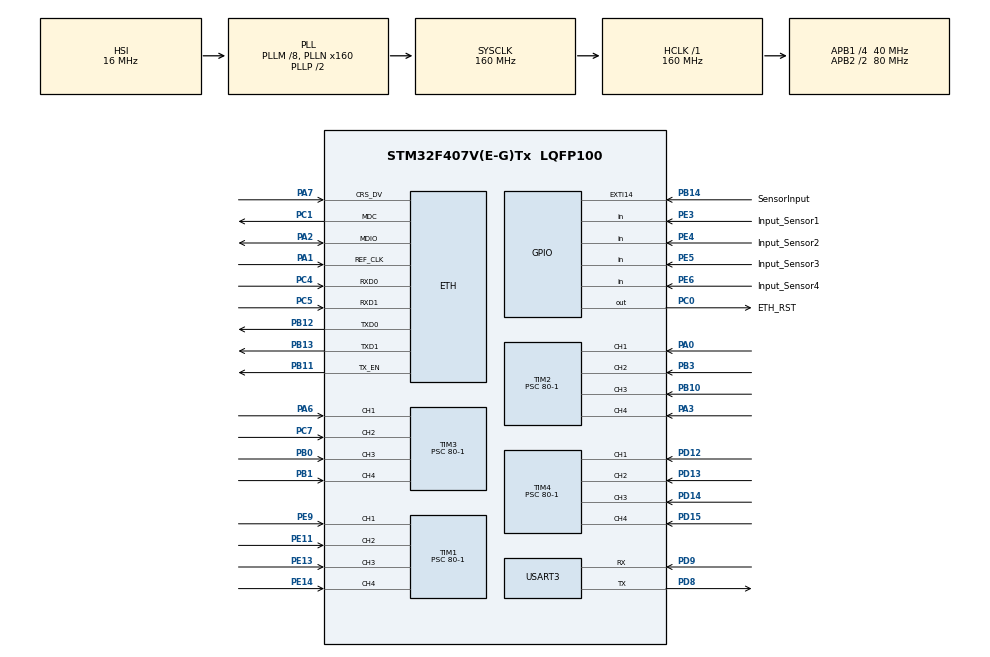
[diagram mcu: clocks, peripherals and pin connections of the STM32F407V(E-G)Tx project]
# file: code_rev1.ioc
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Dma.Request0=USART3_RX
Dma.USART3_RX.0.Direction=DMA_PERIPH_TO_MEMORY
Dma.USART3_RX.0.FIFOMode=DMA_FIFOMODE_DISABLE
Dma.USART3_RX.0.Instance=DMA1_Stream1
Dma.USART3_RX.0.MemDataAlignment=DMA_MDATAALIGN_BYTE
Dma.USART3_RX.0.MemInc=DMA_MINC_ENABLE
Dma.USART3_RX.0.Mode=DMA_CIRCULAR
Dma.USART3_RX.0.PeriphDataAlignment=DMA_PDATAALIGN_BYTE
Dma.USART3_RX.0.PeriphInc=DMA_PINC_DISABLE
Dma.USART3_RX.0.Priority=DMA_PRIORITY_LOW
ETH.MACAddr=00\:80\:E1\:00\:00\:02
ETH.MediaInterface=ETH_MEDIA_INTERFACE_RMII
ETH.PhyAddress=0
FREERTOS.INCLUDE_vTaskCleanUpResources=1
FREERTOS.Tasks01=modbusTaskTcp,32,1024,modebusTaskTcpFunc,Default,NULL,Dynamic,NULL,NULL;Freq_Cal,24,256,Freq_Cal_entry,Default,NULL,Dynamic,NULL,NULL
FREERTOS.configENABLE_FPU=1
FREERTOS.configGENERATE_RUN_TIME_STATS=1
FREERTOS.configTOTAL_HEAP_SIZE=32000
LWIP.CMSIS_VERSION-Enabled=1
LWIP.GATEWAY_ADDRESS=192.168.000.001
LWIP.IP_ADDRESS=192.168.000.092
LWIP.LWIP_DHCP=0
LWIP.LWIP_HTTPD=0
LWIP.MEMP_NUM_PBUF=64
LWIP.MEMP_NUM_TCP_PCB=10
LWIP.MEM_SIZE=10240
LWIP.NETMASK_ADDRESS=255.255.255.000
LWIP.PBUF_POOL_BUFSIZE=1024
LWIP.PBUF_POOL_SIZE=32
LWIP.Version=v2.1.2_Cube
Mcu.Family=STM32F4
Mcu.Name=STM32F407V(E-G)Tx
Mcu.Package=LQFP100
NVIC.DMA1_Stream1_IRQn=true\:0\:0\:false\:false\:true\:true\:false\:true\:true
NVIC.ETH_IRQn=true\:5\:0\:true\:false\:true\:true\:false\:true\:true
NVIC.PriorityGroup=NVIC_PRIORITYGROUP_4
NVIC.TIM1_CC_IRQn=true\:0\:0\:false\:false\:true\:false\:true\:true\:true
NVIC.TIM2_IRQn=true\:0\:0\:false\:false\:true\:false\:true\:true\:true
NVIC.TIM3_IRQn=true\:0\:0\:false\:false\:true\:false\:true\:true\:true
NVIC.TIM4_IRQn=true\:0\:0\:false\:false\:true\:false\:true\:true\:true
NVIC.TIM5_IRQn=true\:0\:0\:false\:false\:true\:false\:false\:true\:true
NVIC.TimeBase=TIM5_IRQn
NVIC.TimeBaseIP=TIM5
NVIC.USART3_IRQn=true\:0\:0\:true\:false\:true\:false\:true\:true\:true
PA0-WKUP.Signal=S_TIM2_CH1_ETR
PA1.Mode=RMII
PA1.Signal=ETH_REF_CLK
PA13.Mode=Serial_Wire
PA13.Signal=SYS_JTMS-SWDIO
PA14.Mode=Serial_Wire
PA14.Signal=SYS_JTCK-SWCLK
PA2.Mode=RMII
PA2.Signal=ETH_MDIO
PA3.Signal=S_TIM2_CH4
PA6.Signal=S_TIM3_CH1
PA7.Mode=RMII
PA7.Signal=ETH_CRS_DV
PB0.Signal=S_TIM3_CH3
PB1.Signal=S_TIM3_CH4
PB10.Signal=S_TIM2_CH3
PB11.Mode=RMII
PB11.Signal=ETH_TX_EN
PB12.Mode=RMII
PB12.Signal=ETH_TXD0
PB13.Mode=RMII
PB13.Signal=ETH_TXD1
PB14.GPIO_Label=SensorInput
PB14.Signal=GPXTI14
PB3.Signal=S_TIM2_CH2
PC0.GPIO_Label=ETH_RST
PC0.PinState=GPIO_PIN_SET
PC0.Signal=GPIO_Output
PC1.Mode=RMII
PC1.Signal=ETH_MDC
PC4.Mode=RMII
PC4.Signal=ETH_RXD0
PC5.Mode=RMII
PC5.Signal=ETH_RXD1
PC7.Signal=S_TIM3_CH2
PD12.Signal=S_TIM4_CH1
PD13.Signal=S_TIM4_CH2
PD14.Signal=S_TIM4_CH3
PD15.Signal=S_TIM4_CH4
PD8.Mode=Asynchronous
PD8.Signal=USART3_TX
PD9.Mode=Asynchronous
PD9.Signal=USART3_RX
PE11.Signal=S_TIM1_CH2
PE13.Signal=S_TIM1_CH3
PE14.Signal=S_TIM1_CH4
PE3.GPIO_Label=Input_Sensor1
PE3.GPIO_PuPd=GPIO_NOPULL
PE3.Signal=GPIO_Input
PE4.GPIO_Label=Input_Sensor2
PE4.GPIO_PuPd=GPIO_NOPULL
PE4.Signal=GPIO_Input
PE5.GPIO_Label=Input_Sensor3
PE5.GPIO_PuPd=GPIO_NOPULL
PE5.Signal=GPIO_Input
PE6.GPIO_Label=Input_Sensor4
PE6.GPIO_PuPd=GPIO_NOPULL
PE6.Signal=GPIO_Input
PE9.Signal=S_TIM1_CH1
PH0-OSC_IN.Mode=HSE-External-Oscillator
PH0-OSC_IN.Signal=RCC_OSC_IN
PH1-OSC_OUT.Mode=HSE-External-Oscillator
PH1-OSC_OUT.Signal=RCC_OSC_OUT
ProjectManager.HeapSize=0x2000
ProjectManager.StackSize=0x4000
ProjectManager.TargetToolchain=EWARM V8.32
RCC.48MHZClocksFreq_Value=45714285.71428572
RCC.AHBFreq_Value=160000000
RCC.APB1CLKDivider=RCC_HCLK_DIV4
RCC.APB1Freq_Value=40000000
RCC.APB1TimFreq_Value=80000000
RCC.APB2CLKDivider=RCC_HCLK_DIV2
RCC.APB2Freq_Value=80000000
RCC.APB2TimFreq_Value=160000000
RCC.CortexFreq_Value=160000000
RCC.HCLKFreq_Value=160000000
RCC.HSE_VALUE=8000000
RCC.HSI_VALUE=16000000
RCC.LSE_VALUE=32768
RCC.PLLM=8
RCC.PLLN=160
RCC.PLLQ=7
RCC.SYSCLKFreq_VALUE=160000000
RCC.SYSCLKSource=RCC_SYSCLKSOURCE_PLLCLK
RCC.VCOOutputFreq_Value=320000000
SH.S_TIM1_CH1.0=TIM1_CH1,Input_Capture1_from_TI1
SH.S_TIM1_CH2.0=TIM1_CH2,Input_Capture2_from_TI2
SH.S_TIM1_CH3.0=TIM1_CH3,Input_Capture3_from_TI3
SH.S_TIM1_CH4.0=TIM1_CH4,Input_Capture4_from_TI4
SH.S_TIM2_CH1_ETR.0=TIM2_CH1,Input_Capture1_from_TI1
SH.S_TIM2_CH2.0=TIM2_CH2,Input_Capture2_from_TI2
SH.S_TIM2_CH3.0=TIM2_CH3,Input_Capture3_from_TI3
SH.S_TIM2_CH4.0=TIM2_CH4,Input_Capture4_from_TI4
SH.S_TIM3_CH1.0=TIM3_CH1,Input_Capture1_from_TI1
SH.S_TIM3_CH2.0=TIM3_CH2,Input_Capture2_from_TI2
SH.S_TIM3_CH3.0=TIM3_CH3,Input_Capture3_from_TI3
SH.S_TIM3_CH4.0=TIM3_CH4,Input_Capture4_from_TI4
SH.S_TIM4_CH1.0=TIM4_CH1,Input_Capture1_from_TI1
SH.S_TIM4_CH2.0=TIM4_CH2,Input_Capture2_from_TI2
SH.S_TIM4_CH3.0=TIM4_CH3,Input_Capture3_from_TI3
SH.S_TIM4_CH4.0=TIM4_CH4,Input_Capture4_from_TI4
TIM1.Channel-Input_Capture1_from_TI1=TIM_CHANNEL_1
TIM1.Channel-Input_Capture2_from_TI2=TIM_CHANNEL_2
TIM1.Channel-Input_Capture3_from_TI3=TIM_CHANNEL_3
TIM1.Channel-Input_Capture4_from_TI4=TIM_CHANNEL_4
TIM1.Prescaler=80-1
TIM2.Channel-Input_Capture1_from_TI1=TIM_CHANNEL_1
TIM2.Channel-Input_Capture2_from_TI2=TIM_CHANNEL_2
TIM2.Channel-Input_Capture3_from_TI3=TIM_CHANNEL_3
TIM2.Channel-Input_Capture4_from_TI4=TIM_CHANNEL_4
TIM2.Prescaler=80-1
TIM3.Channel-Input_Capture1_from_TI1=TIM_CHANNEL_1
TIM3.Channel-Input_Capture2_from_TI2=TIM_CHANNEL_2
TIM3.Channel-Input_Capture3_from_TI3=TIM_CHANNEL_3
TIM3.Channel-Input_Capture4_from_TI4=TIM_CHANNEL_4
TIM3.Prescaler=80-1
TIM4.AutoReloadPreload=TIM_AUTORELOAD_PRELOAD_ENABLE
TIM4.Channel-Input_Capture1_from_TI1=TIM_CHANNEL_1
TIM4.Channel-Input_Capture2_from_TI2=TIM_CHANNEL_2
TIM4.Channel-Input_Capture3_from_TI3=TIM_CHANNEL_3
TIM4.Channel-Input_Capture4_from_TI4=TIM_CHANNEL_4
TIM4.Prescaler=80-1
USART3.VirtualMode=VM_ASYNC
VP_FREERTOS_VS_CMSIS_V2.Mode=CMSIS_V2
VP_LWIP_VS_Enabled.Mode=Enabled
VP_SYS_VS_tim5.Mode=TIM5
VP_TIM1_VS_ClockSourceINT.Mode=Internal
VP_TIM2_VS_ClockSourceINT.Mode=Internal
VP_TIM3_VS_ClockSourceINT.Mode=Internal
VP_TIM4_VS_ClockSourceINT.Mode=Internal
board=custom

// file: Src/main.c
/* USER CODE BEGIN Header */
/**
******************************************************************************
* @file           : main.c
* @brief          : Main program body
******************************************************************************
* @attention
*
* <h2><center>&copy; Copyright (c) 2023 STMicroelectronics.
* All rights reserved.</center></h2>
*
* This software component is licensed by ST under Ultimate Liberty license
* SLA0044, the "License"; You may not use this file except in compliance with
* the License. You may obtain a copy of the License at:
*                             www.st.com/SLA0044
*
******************************************************************************
*/
/* USER CODE END Header */
#include "main.h"
#include "cmsis_os.h"
#include "lwip.h"

/* USER CODE BEGIN Includes */
#include "lwip/apps/httpd.h"
#include "string.h"
#include "stdio.h"
#include "stdlib.h"
#include "lwip/opt.h"
#include "lwip/arch.h"
#include "api.h"
#include "string.h"
#include "lwip/netif.h"
#include "lwip/tcp.h"
#include "lwip/tcpip.h"
#include "lwip/udp.h"
#include "lwip/netbuf.h"
#include "lwip/pbuf.h"
#include "lwip/sys.h"
#include "err.h"
#include "lwip/ip.h"
#include "lwip/ip4.h"
#include "lwip/ip4_addr.h"
#include "lwip/ip_addr.h"
#include "lwip/sockets.h"
#include <stdbool.h>
#include <stdint.h>
#include <stdio.h>
#include <stdlib.h>
#include <string.h>
#include "mbap_conf.h"
#include "mbap_user.h"
#include "tcp1.h"

//#include "udpclient.h"

#include <float.h>
#include <math.h>
#include <float.h>
#include <math.h>
#include <stdio.h>
#include <stdlib.h>
#include <string.h>

#include "printf.h"
/* USER CODE END Includes */

/* USER CODE BEGIN PD */
#define PORT     2020
#define MAXLINE  1024

u32_t number_of_bytes=0;
char buffer[MAXLINE];
/* USER CODE END PD */

/* USER CODE BEGIN PM */
err_t err, recv_err;
ip_addr_t dest_addr;
int indx = 0;
char smsg[200];
int sendReq = 1;
void udpsend(char *data);

#define TIMCLOCK_1   80000000
#define TIMCLOCK_2   160000000
#define PRESCALAR_1  80
#define PRESCALAR_2  80

#define ARRAY_LEN(x)  (sizeof(x)/sizeof((x)[0]))
uint8_t usart_rx[2500];
size_t pos;
#define NUMBERS_COUNT 17
#define NUMBER_LENGTH 4
#define BUFFER_LENGTH 84
uint8_t Rx_data[84];
int sl_inputs[NUMBERS_COUNT];

uint32_t IC_Val1[16] = {0,0,0,0,0,0,0,0,0,0,0,0,0,0,0,0};
uint32_t IC_Val2[16] = {0,0,0,0,0,0,0,0,0,0,0,0,0,0,0,0};
uint32_t Difference[16] = {0,0,0,0,0,0,0,0,0,0,0,0,0,0,0,0};
int Is_First_Captured[16] = {0,0,0,0,0,0,0,0,0,0,0,0,0,0,0,0};
uint32_t frequency[16] = {0,0,0,0,0,0,0,0,0,0,0,0,0,0,0,0};
uint32_t frequency_f[16] = {0,0,0,0,0,0,0,0,0,0,0,0,0,0,0,0};

char update_status[] = "mode0";
uint16_t capture_freq[100][16];
uint8_t readCount = 0;
uint8_t counter = 0;

uint16_t selected_data[25][16];
uint16_t out_data[800];

int sensorStatus = 0;
int sensorNumber = 0;
int readStatus = 0;

int slave_recive = 0;
uint32_t slave_data[400];

char outstr[4802];
int sendData = 0;

extern int sendReq;
uint8_t sendCounter = 0;

uint8_t recBlock = 0;
uint8_t sendOutUdp = 0;
uint8_t socketStatus = 0;

char header[1200];
char footer[1200];
/* USER CODE END PM */

TIM_HandleTypeDef htim1;
TIM_HandleTypeDef htim2;
TIM_HandleTypeDef htim3;
TIM_HandleTypeDef htim4;

/* Definitions for modbusTaskTcp */
osThreadId_t modbusTaskTcpHandle;
const osThreadAttr_t modbusTaskTcp_attributes = {
  .name = "modbusTaskTcp",
  .priority = (osPriority_t) osPriorityAboveNormal,
  .stack_size = 1024 * 4
};
/* Definitions for Freq_Cal */
osThreadId_t Freq_CalHandle;
const osThreadAttr_t Freq_Cal_attributes = {
  .name = "Freq_Cal",
  .priority = (osPriority_t) osPriorityNormal,
  .stack_size = 256 * 4
};

void SystemClock_Config(void);
static void MX_GPIO_Init(void);
static void MX_DMA_Init(void);
static void MX_TIM1_Init(void);
static void MX_TIM2_Init(void);
static void MX_USART3_UART_Init(void);
static void MX_TIM3_Init(void);
static void MX_TIM4_Init(void);
void modebusTaskTcpFunc(void *argument);
void Freq_Cal_entry(void *argument);

/* USER CODE BEGIN PFP */
void usart_transmit_data(const void* data, uint16_t len) {
  const uint8_t* b = data;
  while (len--) {
    LL_USART_TransmitData8(USART3, *b++);
    while (!LL_USART_IsActiveFlag_TXE(USART3));
  }
}

void usart_rx_check(void) {
  static size_t old_pos;

  /* Calculate current position in buffer */
  pos = ARRAY_LEN(usart_rx) - LL_DMA_GetDataLength(DMA1, LL_DMA_STREAM_5);
  old_pos = pos;                              /* Save current position as old */
  /* Check and manually update if we reached end of buffer */
  if (old_pos == ARRAY_LEN(usart_rx)) {
    old_pos = 0;
  }
}

/**
* \brief           Process received data over UART
* \note            Either process them directly or copy to other bigger buffer
* \param[in]       data: Data to process
* \param[in]       len: Length in units of bytes
*/
void usart_process_data(const void* data, size_t len) {
  const uint8_t* d = data;
  while (len--) {
    LL_USART_TransmitData8(USART3, *d++);
    while (!LL_USART_IsActiveFlag_TXE(USART3));
  }
  while (!LL_USART_IsActiveFlag_TC(USART3));
}

/**
* @brief USART3 Initialization Function
* @param None
* @retval None
*/
static void MX_USART3_UART_Init(void)
{

  /* USER CODE BEGIN USART3_Init 0 */

  /* USER CODE END USART3_Init 0 */

  LL_USART_InitTypeDef USART_InitStruct = {0};

  LL_GPIO_InitTypeDef GPIO_InitStruct = {0};

  /* Peripheral clock enable */
  LL_APB1_GRP1_EnableClock(LL_APB1_GRP1_PERIPH_USART3);

  LL_AHB1_GRP1_EnableClock(LL_AHB1_GRP1_PERIPH_GPIOD);
  /**USART3 GPIO Configuration
  PD8   ------> USART3_TX
  PD9   ------> USART3_RX
  */
  GPIO_InitStruct.Pin = LL_GPIO_PIN_8|LL_GPIO_PIN_9;
  GPIO_InitStruct.Mode = LL_GPIO_MODE_ALTERNATE;
  GPIO_InitStruct.Speed = LL_GPIO_SPEED_FREQ_VERY_HIGH;
  GPIO_InitStruct.OutputType = LL_GPIO_OUTPUT_PUSHPULL;
  GPIO_InitStruct.Pull = LL_GPIO_PULL_UP;
  GPIO_InitStruct.Alternate = LL_GPIO_AF_7;
  LL_GPIO_Init(GPIOD, &GPIO_InitStruct);

  /* USART3 DMA Init */

  /* USART3_RX Init */
  /*
  LL_DMA_SetChannelSelection(DMA1, LL_DMA_STREAM_1, LL_DMA_CHANNEL_4);

  LL_DMA_SetDataTransferDirection(DMA1, LL_DMA_STREAM_1, LL_DMA_DIRECTION_PERIPH_TO_MEMORY);

  LL_DMA_SetStreamPriorityLevel(DMA1, LL_DMA_STREAM_1, LL_DMA_PRIORITY_LOW);

  LL_DMA_SetMode(DMA1, LL_DMA_STREAM_1, LL_DMA_MODE_CIRCULAR);

  LL_DMA_SetPeriphIncMode(DMA1, LL_DMA_STREAM_1, LL_DMA_PERIPH_NOINCREMENT);

  LL_DMA_SetMemoryIncMode(DMA1, LL_DMA_STREAM_1, LL_DMA_MEMORY_INCREMENT);

  LL_DMA_SetPeriphSize(DMA1, LL_DMA_STREAM_1, LL_DMA_PDATAALIGN_BYTE);

  LL_DMA_SetMemorySize(DMA1, LL_DMA_STREAM_1, LL_DMA_MDATAALIGN_BYTE);

  LL_DMA_DisableFifoMode(DMA1, LL_DMA_STREAM_1);
  */
  LL_DMA_SetChannelSelection(DMA1, LL_DMA_STREAM_1, LL_DMA_CHANNEL_4);
  LL_DMA_SetDataTransferDirection(DMA1, LL_DMA_STREAM_1, LL_DMA_DIRECTION_PERIPH_TO_MEMORY);
  LL_DMA_SetStreamPriorityLevel(DMA1, LL_DMA_STREAM_1, LL_DMA_PRIORITY_LOW);
  LL_DMA_SetMode(DMA1, LL_DMA_STREAM_1, LL_DMA_MODE_CIRCULAR);
  LL_DMA_SetPeriphIncMode(DMA1, LL_DMA_STREAM_1, LL_DMA_PERIPH_NOINCREMENT);
  LL_DMA_SetMemoryIncMode(DMA1, LL_DMA_STREAM_1, LL_DMA_MEMORY_INCREMENT);
  LL_DMA_SetPeriphSize(DMA1, LL_DMA_STREAM_1, LL_DMA_PDATAALIGN_BYTE);
  LL_DMA_SetMemorySize(DMA1, LL_DMA_STREAM_1, LL_DMA_MDATAALIGN_BYTE);
  LL_DMA_DisableFifoMode(DMA1, LL_DMA_STREAM_1);

  LL_DMA_SetPeriphAddress(DMA1, LL_DMA_STREAM_1, (uint32_t)&USART3->DR);
  LL_DMA_SetMemoryAddress(DMA1, LL_DMA_STREAM_1, (uint32_t)usart_rx);
  LL_DMA_SetDataLength(DMA1, LL_DMA_STREAM_1, ARRAY_LEN(usart_rx));

  /* USART3 interrupt Init */
  NVIC_SetPriority(USART3_IRQn, NVIC_EncodePriority(NVIC_GetPriorityGrouping(),5, 0));
  NVIC_EnableIRQ(USART3_IRQn);

  /* USER CODE BEGIN USART3_Init 1 */

  /* USER CODE END USART3_Init 1 */
  USART_InitStruct.BaudRate = 115200;
  USART_InitStruct.DataWidth = LL_USART_DATAWIDTH_8B;
  USART_InitStruct.StopBits = LL_USART_STOPBITS_1;
  USART_InitStruct.Parity = LL_USART_PARITY_NONE;
  USART_InitStruct.TransferDirection = LL_USART_DIRECTION_TX_RX;
  USART_InitStruct.HardwareFlowControl = LL_USART_HWCONTROL_NONE;
  USART_InitStruct.OverSampling = LL_USART_OVERSAMPLING_16;
  LL_USART_Init(USART3, &USART_InitStruct);
  LL_USART_ConfigAsyncMode(USART3);
  LL_USART_EnableDMAReq_RX(USART3);
  LL_USART_EnableIT_IDLE(USART3);
  LL_DMA_EnableStream(DMA1, LL_DMA_STREAM_1);
  LL_USART_Enable(USART3);
  /* USER CODE BEGIN USART3_Init 2 */

  /* USER CODE END USART3_Init 2 */

}

/**
* \brief           Send string to USART
* \param[in]       str: String to send
*/
void usart_send_string(const char* str) {
  usart_process_data(str, strlen(str));
}
/* USER CODE END PFP */

int main(void)
{

  /* MCU Configuration--------------------------------------------------------*/

  /* Reset of all peripherals, Initializes the Flash interface and the Systick. */
  HAL_Init();

  /* Configure the system clock */
  SystemClock_Config();

  /* Initialize all configured peripherals */
  MX_GPIO_Init();
  MX_DMA_Init();
  MX_TIM1_Init();
  MX_TIM2_Init();
  MX_USART3_UART_Init();
  MX_TIM3_Init();
  MX_TIM4_Init();
  /* USER CODE BEGIN 2 */
  HAL_TIM_IC_Start_IT(&htim1, TIM_CHANNEL_1);
  HAL_TIM_IC_Start_IT(&htim1, TIM_CHANNEL_2);
  HAL_TIM_IC_Start_IT(&htim1, TIM_CHANNEL_3);
  HAL_TIM_IC_Start_IT(&htim1, TIM_CHANNEL_4);

  HAL_TIM_IC_Start_IT(&htim2, TIM_CHANNEL_1);
  HAL_TIM_IC_Start_IT(&htim2, TIM_CHANNEL_2);
  HAL_TIM_IC_Start_IT(&htim2, TIM_CHANNEL_3);
  HAL_TIM_IC_Start_IT(&htim2, TIM_CHANNEL_4);

  HAL_TIM_IC_Start_IT(&htim3, TIM_CHANNEL_1);
  HAL_TIM_IC_Start_IT(&htim3, TIM_CHANNEL_2);
  HAL_TIM_IC_Start_IT(&htim3, TIM_CHANNEL_3);
  HAL_TIM_IC_Start_IT(&htim3, TIM_CHANNEL_4);

  HAL_TIM_IC_Start_IT(&htim4, TIM_CHANNEL_1);
  HAL_TIM_IC_Start_IT(&htim4, TIM_CHANNEL_2);
  HAL_TIM_IC_Start_IT(&htim4, TIM_CHANNEL_3);
  HAL_TIM_IC_Start_IT(&htim4, TIM_CHANNEL_4);

  //HAL_UART_Receive_IT (&huart3, Rx_data, 4);
  HAL_GPIO_WritePin(ETH_RST_GPIO_Port, ETH_RST_Pin, GPIO_PIN_RESET);
  HAL_Delay(500);
  HAL_GPIO_WritePin(ETH_RST_GPIO_Port, ETH_RST_Pin, GPIO_PIN_SET);
  HAL_Delay(500);
  HAL_GPIO_WritePin(ETH_RST_GPIO_Port, ETH_RST_Pin, GPIO_PIN_RESET);
  HAL_Delay(500);
  HAL_GPIO_WritePin(ETH_RST_GPIO_Port, ETH_RST_Pin, GPIO_PIN_SET);
  HAL_Delay(500);
  /* USER CODE END 2 */

  /* Init scheduler */
  osKernelInitialize();

  /* Create the thread(s) */
  /* creation of modbusTaskTcp */
  modbusTaskTcpHandle = osThreadNew(modebusTaskTcpFunc, NULL, &modbusTaskTcp_attributes);

  /* creation of Freq_Cal */
  Freq_CalHandle = osThreadNew(Freq_Cal_entry, NULL, &Freq_Cal_attributes);

  /* Start scheduler */
  osKernelStart();

  /* We should never get here as control is now taken by the scheduler */
  /* Infinite loop */
  while (1)
  {

  }
}

void SystemClock_Config(void)
{
  RCC_OscInitTypeDef RCC_OscInitStruct = {0};
  RCC_ClkInitTypeDef RCC_ClkInitStruct = {0};

  /** Configure the main internal regulator output voltage
  */
  __HAL_RCC_PWR_CLK_ENABLE();
  __HAL_PWR_VOLTAGESCALING_CONFIG(PWR_REGULATOR_VOLTAGE_SCALE1);
  /** Initializes the RCC Oscillators according to the specified parameters
  * in the RCC_OscInitTypeDef structure.
  */
  RCC_OscInitStruct.OscillatorType = RCC_OSCILLATORTYPE_HSI;
  RCC_OscInitStruct.HSIState = RCC_HSI_ON;
  RCC_OscInitStruct.HSICalibrationValue = RCC_HSICALIBRATION_DEFAULT;
  RCC_OscInitStruct.PLL.PLLState = RCC_PLL_ON;
  RCC_OscInitStruct.PLL.PLLSource = RCC_PLLSOURCE_HSI;
  RCC_OscInitStruct.PLL.PLLM = 8;
  RCC_OscInitStruct.PLL.PLLN = 160;
  RCC_OscInitStruct.PLL.PLLP = RCC_PLLP_DIV2;
  RCC_OscInitStruct.PLL.PLLQ = 7;
  if (HAL_RCC_OscConfig(&RCC_OscInitStruct) != HAL_OK)
  {
    Error_Handler();
  }
  /** Initializes the CPU, AHB and APB buses clocks
  */
  RCC_ClkInitStruct.ClockType = RCC_CLOCKTYPE_HCLK|RCC_CLOCKTYPE_SYSCLK
                              |RCC_CLOCKTYPE_PCLK1|RCC_CLOCKTYPE_PCLK2;
  RCC_ClkInitStruct.SYSCLKSource = RCC_SYSCLKSOURCE_PLLCLK;
  RCC_ClkInitStruct.AHBCLKDivider = RCC_SYSCLK_DIV1;
  RCC_ClkInitStruct.APB1CLKDivider = RCC_HCLK_DIV4;
  RCC_ClkInitStruct.APB2CLKDivider = RCC_HCLK_DIV2;

  if (HAL_RCC_ClockConfig(&RCC_ClkInitStruct, FLASH_LATENCY_5) != HAL_OK)
  {
    Error_Handler();
  }
}

static void MX_TIM1_Init(void)
{

  TIM_ClockConfigTypeDef sClockSourceConfig = {0};
  TIM_MasterConfigTypeDef sMasterConfig = {0};
  TIM_IC_InitTypeDef sConfigIC = {0};

  htim1.Instance = TIM1;
  htim1.Init.Prescaler = 80-1;
  htim1.Init.CounterMode = TIM_COUNTERMODE_UP;
  htim1.Init.Period = 65535;
  htim1.Init.ClockDivision = TIM_CLOCKDIVISION_DIV1;
  htim1.Init.RepetitionCounter = 0;
  htim1.Init.AutoReloadPreload = TIM_AUTORELOAD_PRELOAD_DISABLE;
  if (HAL_TIM_Base_Init(&htim1) != HAL_OK)
  {
    Error_Handler();
  }
  sClockSourceConfig.ClockSource = TIM_CLOCKSOURCE_INTERNAL;
  if (HAL_TIM_ConfigClockSource(&htim1, &sClockSourceConfig) != HAL_OK)
  {
    Error_Handler();
  }
  if (HAL_TIM_IC_Init(&htim1) != HAL_OK)
  {
    Error_Handler();
  }
  sMasterConfig.MasterOutputTrigger = TIM_TRGO_RESET;
  sMasterConfig.MasterSlaveMode = TIM_MASTERSLAVEMODE_DISABLE;
  if (HAL_TIMEx_MasterConfigSynchronization(&htim1, &sMasterConfig) != HAL_OK)
  {
    Error_Handler();
  }
  sConfigIC.ICPolarity = TIM_INPUTCHANNELPOLARITY_RISING;
  sConfigIC.ICSelection = TIM_ICSELECTION_DIRECTTI;
  sConfigIC.ICPrescaler = TIM_ICPSC_DIV1;
  sConfigIC.ICFilter = 0;
  if (HAL_TIM_IC_ConfigChannel(&htim1, &sConfigIC, TIM_CHANNEL_1) != HAL_OK)
  {
    Error_Handler();
  }
  if (HAL_TIM_IC_ConfigChannel(&htim1, &sConfigIC, TIM_CHANNEL_2) != HAL_OK)
  {
    Error_Handler();
  }
  if (HAL_TIM_IC_ConfigChannel(&htim1, &sConfigIC, TIM_CHANNEL_3) != HAL_OK)
  {
    Error_Handler();
  }
  if (HAL_TIM_IC_ConfigChannel(&htim1, &sConfigIC, TIM_CHANNEL_4) != HAL_OK)
  {
    Error_Handler();
  }

}

static void MX_TIM2_Init(void)
{

  TIM_ClockConfigTypeDef sClockSourceConfig = {0};
  TIM_MasterConfigTypeDef sMasterConfig = {0};
  TIM_IC_InitTypeDef sConfigIC = {0};

  htim2.Instance = TIM2;
  htim2.Init.Prescaler = 80-1;
  htim2.Init.CounterMode = TIM_COUNTERMODE_UP;
  htim2.Init.Period = 4294967295;
  htim2.Init.ClockDivision = TIM_CLOCKDIVISION_DIV1;
  htim2.Init.AutoReloadPreload = TIM_AUTORELOAD_PRELOAD_DISABLE;
  if (HAL_TIM_Base_Init(&htim2) != HAL_OK)
  {
    Error_Handler();
  }
  sClockSourceConfig.ClockSource = TIM_CLOCKSOURCE_INTERNAL;
  if (HAL_TIM_ConfigClockSource(&htim2, &sClockSourceConfig) != HAL_OK)
  {
    Error_Handler();
  }
  if (HAL_TIM_IC_Init(&htim2) != HAL_OK)
  {
    Error_Handler();
  }
  sMasterConfig.MasterOutputTrigger = TIM_TRGO_RESET;
  sMasterConfig.MasterSlaveMode = TIM_MASTERSLAVEMODE_DISABLE;
  if (HAL_TIMEx_MasterConfigSynchronization(&htim2, &sMasterConfig) != HAL_OK)
  {
    Error_Handler();
  }
  sConfigIC.ICPolarity = TIM_INPUTCHANNELPOLARITY_RISING;
  sConfigIC.ICSelection = TIM_ICSELECTION_DIRECTTI;
  sConfigIC.ICPrescaler = TIM_ICPSC_DIV1;
  sConfigIC.ICFilter = 0;
  if (HAL_TIM_IC_ConfigChannel(&htim2, &sConfigIC, TIM_CHANNEL_1) != HAL_OK)
  {
    Error_Handler();
  }
  if (HAL_TIM_IC_ConfigChannel(&htim2, &sConfigIC, TIM_CHANNEL_2) != HAL_OK)
  {
    Error_Handler();
  }
  if (HAL_TIM_IC_ConfigChannel(&htim2, &sConfigIC, TIM_CHANNEL_3) != HAL_OK)
  {
    Error_Handler();
  }
  if (HAL_TIM_IC_ConfigChannel(&htim2, &sConfigIC, TIM_CHANNEL_4) != HAL_OK)
  {
    Error_Handler();
  }

}

static void MX_TIM3_Init(void)
{

  TIM_ClockConfigTypeDef sClockSourceConfig = {0};
  TIM_MasterConfigTypeDef sMasterConfig = {0};
  TIM_IC_InitTypeDef sConfigIC = {0};

  htim3.Instance = TIM3;
  htim3.Init.Prescaler = 80-1;
  htim3.Init.CounterMode = TIM_COUNTERMODE_UP;
  htim3.Init.Period = 65535;
  htim3.Init.ClockDivision = TIM_CLOCKDIVISION_DIV1;
  htim3.Init.AutoReloadPreload = TIM_AUTORELOAD_PRELOAD_DISABLE;
  if (HAL_TIM_Base_Init(&htim3) != HAL_OK)
  {
    Error_Handler();
  }
  sClockSourceConfig.ClockSource = TIM_CLOCKSOURCE_INTERNAL;
  if (HAL_TIM_ConfigClockSource(&htim3, &sClockSourceConfig) != HAL_OK)
  {
    Error_Handler();
  }
  if (HAL_TIM_IC_Init(&htim3) != HAL_OK)
  {
    Error_Handler();
  }
  sMasterConfig.MasterOutputTrigger = TIM_TRGO_RESET;
  sMasterConfig.MasterSlaveMode = TIM_MASTERSLAVEMODE_DISABLE;
  if (HAL_TIMEx_MasterConfigSynchronization(&htim3, &sMasterConfig) != HAL_OK)
  {
    Error_Handler();
  }
  sConfigIC.ICPolarity = TIM_INPUTCHANNELPOLARITY_RISING;
  sConfigIC.ICSelection = TIM_ICSELECTION_DIRECTTI;
  sConfigIC.ICPrescaler = TIM_ICPSC_DIV1;
  sConfigIC.ICFilter = 0;
  if (HAL_TIM_IC_ConfigChannel(&htim3, &sConfigIC, TIM_CHANNEL_1) != HAL_OK)
  {
    Error_Handler();
  }
  if (HAL_TIM_IC_ConfigChannel(&htim3, &sConfigIC, TIM_CHANNEL_2) != HAL_OK)
  {
    Error_Handler();
  }
  if (HAL_TIM_IC_ConfigChannel(&htim3, &sConfigIC, TIM_CHANNEL_3) != HAL_OK)
  {
    Error_Handler();
  }
  if (HAL_TIM_IC_ConfigChannel(&htim3, &sConfigIC, TIM_CHANNEL_4) != HAL_OK)
  {
    Error_Handler();
  }

}

static void MX_TIM4_Init(void)
{

  TIM_ClockConfigTypeDef sClockSourceConfig = {0};
  TIM_MasterConfigTypeDef sMasterConfig = {0};
  TIM_IC_InitTypeDef sConfigIC = {0};

  htim4.Instance = TIM4;
  htim4.Init.Prescaler = 80-1;
  htim4.Init.CounterMode = TIM_COUNTERMODE_UP;
  htim4.Init.Period = 65535;
  htim4.Init.ClockDivision = TIM_CLOCKDIVISION_DIV1;
  htim4.Init.AutoReloadPreload = TIM_AUTORELOAD_PRELOAD_ENABLE;
  if (HAL_TIM_Base_Init(&htim4) != HAL_OK)
  {
    Error_Handler();
  }
  sClockSourceConfig.ClockSource = TIM_CLOCKSOURCE_INTERNAL;
  if (HAL_TIM_ConfigClockSource(&htim4, &sClockSourceConfig) != HAL_OK)
  {
    Error_Handler();
  }
  if (HAL_TIM_IC_Init(&htim4) != HAL_OK)
  {
    Error_Handler();
  }
  sMasterConfig.MasterOutputTrigger = TIM_TRGO_RESET;
  sMasterConfig.MasterSlaveMode = TIM_MASTERSLAVEMODE_DISABLE;
  if (HAL_TIMEx_MasterConfigSynchronization(&htim4, &sMasterConfig) != HAL_OK)
  {
    Error_Handler();
  }
  sConfigIC.ICPolarity = TIM_INPUTCHANNELPOLARITY_RISING;
  sConfigIC.ICSelection = TIM_ICSELECTION_DIRECTTI;
  sConfigIC.ICPrescaler = TIM_ICPSC_DIV1;
  sConfigIC.ICFilter = 0;
  if (HAL_TIM_IC_ConfigChannel(&htim4, &sConfigIC, TIM_CHANNEL_1) != HAL_OK)
  {
    Error_Handler();
  }
  if (HAL_TIM_IC_ConfigChannel(&htim4, &sConfigIC, TIM_CHANNEL_2) != HAL_OK)
  {
    Error_Handler();
  }
  if (HAL_TIM_IC_ConfigChannel(&htim4, &sConfigIC, TIM_CHANNEL_3) != HAL_OK)
  {
    Error_Handler();
  }
  if (HAL_TIM_IC_ConfigChannel(&htim4, &sConfigIC, TIM_CHANNEL_4) != HAL_OK)
  {
    Error_Handler();
  }

}

static void MX_DMA_Init(void)
{

  /* Init with LL driver */
  /* DMA controller clock enable */
  LL_AHB1_GRP1_EnableClock(LL_AHB1_GRP1_PERIPH_DMA1);

  /* DMA interrupt init */
  /* DMA1_Stream1_IRQn interrupt configuration */
  NVIC_SetPriority(DMA1_Stream1_IRQn, NVIC_EncodePriority(NVIC_GetPriorityGrouping(),0, 0));
  NVIC_EnableIRQ(DMA1_Stream1_IRQn);

}

static void MX_GPIO_Init(void)
{
  GPIO_InitTypeDef GPIO_InitStruct = {0};

  /* GPIO Ports Clock Enable */
  __HAL_RCC_GPIOE_CLK_ENABLE();
  __HAL_RCC_GPIOH_CLK_ENABLE();
  __HAL_RCC_GPIOC_CLK_ENABLE();
  __HAL_RCC_GPIOA_CLK_ENABLE();
  __HAL_RCC_GPIOB_CLK_ENABLE();
  __HAL_RCC_GPIOD_CLK_ENABLE();

  /*Configure GPIO pin Output Level */
  HAL_GPIO_WritePin(ETH_RST_GPIO_Port, ETH_RST_Pin, GPIO_PIN_SET);

  /*Configure GPIO pins : Input_Sensor1_Pin Input_Sensor2_Pin Input_Sensor3_Pin Input_Sensor4_Pin */
  GPIO_InitStruct.Pin = Input_Sensor1_Pin|Input_Sensor2_Pin|Input_Sensor3_Pin|Input_Sensor4_Pin;
  GPIO_InitStruct.Mode = GPIO_MODE_INPUT;
  GPIO_InitStruct.Pull = GPIO_NOPULL;
  HAL_GPIO_Init(GPIOE, &GPIO_InitStruct);

  /*Configure GPIO pin : ETH_RST_Pin */
  GPIO_InitStruct.Pin = ETH_RST_Pin;
  GPIO_InitStruct.Mode = GPIO_MODE_OUTPUT_PP;
  GPIO_InitStruct.Pull = GPIO_NOPULL;
  GPIO_InitStruct.Speed = GPIO_SPEED_FREQ_LOW;
  HAL_GPIO_Init(ETH_RST_GPIO_Port, &GPIO_InitStruct);

  /*Configure GPIO pin : SensorInput_Pin */
  GPIO_InitStruct.Pin = SensorInput_Pin;
  GPIO_InitStruct.Mode = GPIO_MODE_IT_RISING;
  GPIO_InitStruct.Pull = GPIO_NOPULL;
  HAL_GPIO_Init(SensorInput_GPIO_Port, &GPIO_InitStruct);

}

/* USER CODE BEGIN 4 */

/* Measure Frequency */

void HAL_TIM_IC_CaptureCallback(TIM_HandleTypeDef *htim)
{
  if (htim == &htim1)
  {
    if (htim->Channel == HAL_TIM_ACTIVE_CHANNEL_1)
    {
      if (Is_First_Captured[0]==0) // if the first rising edge is not captured
      {
        IC_Val1[0] = HAL_TIM_ReadCapturedValue(htim, TIM_CHANNEL_1); // read the first value
        Is_First_Captured[0] = 1;  // set the first captured as true
      }

      else   // If the first rising edge is captured, now we will capture the second edge
      {
        IC_Val2[0] = HAL_TIM_ReadCapturedValue(htim, TIM_CHANNEL_1);  // read second value

        if (IC_Val2[0] > IC_Val1[0])
        {
          Difference[0] = IC_Val2[0]-IC_Val1[0];
        }

        else if (IC_Val1[0] > IC_Val2[0])
        {
          Difference[0] = (0xffffffff - IC_Val1[0]) + IC_Val2[0];
        }

        float refClock = TIMCLOCK_2/(PRESCALAR_2);

        frequency[7] = (int)refClock/Difference[0];

        //        __HAL_TIM_SET_COUNTER(htim, 0);  // reset the counter
        Is_First_Captured[0] = 0; // set it back to false
      }
    }
    else if (htim->Channel == HAL_TIM_ACTIVE_CHANNEL_2)
    {
      if (Is_First_Captured[1]==0) // if the first rising edge is not captured
      {
        IC_Val1[1] = HAL_TIM_ReadCapturedValue(htim, TIM_CHANNEL_2); // read the first value
        Is_First_Captured[1] = 1;  // set the first captured as true
      }

      else   // If the first rising edge is captured, now we will capture the second edge
      {
        IC_Val2[1] = HAL_TIM_ReadCapturedValue(htim, TIM_CHANNEL_2);  // read second value

        if (IC_Val2[1] > IC_Val1[1])
        {
          Difference[1] = IC_Val2[1]-IC_Val1[1];
        }

        else if (IC_Val1[1] > IC_Val2[1])
        {
          Difference[1] = (0xffffffff - IC_Val1[1]) + IC_Val2[1];
        }

        float refClock = TIMCLOCK_2/(PRESCALAR_2);

        frequency[6] = (int)refClock/Difference[1];

        //        __HAL_TIM_SET_COUNTER(htim, 0);  // reset the counter
        Is_First_Captured[1] = 0; // set it back to false
      }
    }
    else if (htim->Channel == HAL_TIM_ACTIVE_CHANNEL_3)
    {
      if (Is_First_Captured[2]==0) // if the first rising edge is not captured
      {
        IC_Val1[2] = HAL_TIM_ReadCapturedValue(htim, TIM_CHANNEL_3); // read the first value
        Is_First_Captured[2] = 1;  // set the first captured as true
      }

      else   // If the first rising edge is captured, now we will capture the second edge
      {
        IC_Val2[2] = HAL_TIM_ReadCapturedValue(htim, TIM_CHANNEL_3);  // read second value

        if (IC_Val2[2] > IC_Val1[2])
        {
          Difference[2] = IC_Val2[2]-IC_Val1[2];
        }

        else if (IC_Val1[2] > IC_Val2[2])
        {
          Difference[2] = (0xffffffff - IC_Val1[2]) + IC_Val2[2];
        }

        float refClock = TIMCLOCK_2/(PRESCALAR_2);

        frequency[5] = (int)refClock/Difference[2];

        //        __HAL_TIM_SET_COUNTER(htim, 0);  // reset the counter
        Is_First_Captured[2] = 0; // set it back to false
      }
    }
    else if (htim->Channel == HAL_TIM_ACTIVE_CHANNEL_4)
    {
      if (Is_First_Captured[3]==0) // if the first rising edge is not captured
      {
        IC_Val1[3] = HAL_TIM_ReadCapturedValue(htim, TIM_CHANNEL_4); // read the first value
        Is_First_Captured[3] = 1;  // set the first captured as true
      }

      else   // If the first rising edge is captured, now we will capture the second edge
      {
        IC_Val2[3] = HAL_TIM_ReadCapturedValue(htim, TIM_CHANNEL_4);  // read second value

        if (IC_Val2[3] > IC_Val1[3])
        {
          Difference[3] = IC_Val2[3]-IC_Val1[3];
        }

        else if (IC_Val1[3] > IC_Val2[3])
        {
          Difference[3] = (0xffffffff - IC_Val1[3]) + IC_Val2[3];
        }

        float refClock = TIMCLOCK_2/(PRESCALAR_2);

        frequency[4] = (int)refClock/Difference[3];

        //        __HAL_TIM_SET_COUNTER(htim, 0);  // reset the counter
        Is_First_Captured[3] = 0; // set it back to false
      }
    }
  }
  ///////////////////////////Timer 2
  else if (htim == &htim2)
  {
    if (htim->Channel == HAL_TIM_ACTIVE_CHANNEL_1)
    {
      if (Is_First_Captured[4]==0) // if the first rising edge is not captured
      {
        IC_Val1[4] = HAL_TIM_ReadCapturedValue(htim, TIM_CHANNEL_1); // read the first value
        Is_First_Captured[4] = 1;  // set the first captured as true
      }

      else   // If the first rising edge is captured, now we will capture the second edge
      {
        IC_Val2[4] = HAL_TIM_ReadCapturedValue(htim, TIM_CHANNEL_1);  // read second value

        if (IC_Val2[4] > IC_Val1[4])
        {
          Difference[4] = IC_Val2[4]-IC_Val1[4];
        }

        else if (IC_Val1[4] > IC_Val2[4])
        {
          Difference[4] = (0xffffffff - IC_Val1[4]) + IC_Val2[4];
        }

        float refClock = TIMCLOCK_1/(PRESCALAR_1);

        frequency[3] = (int)refClock/Difference[4];

        //        __HAL_TIM_SET_COUNTER(htim, 0);  // reset the counter
        Is_First_Captured[4] = 0; // set it back to false
      }
    }
    else if (htim->Channel == HAL_TIM_ACTIVE_CHANNEL_2)
    {
      if (Is_First_Captured[5]==0) // if the first rising edge is not captured
      {
        IC_Val1[5] = HAL_TIM_ReadCapturedValue(htim, TIM_CHANNEL_2); // read the first value
        Is_First_Captured[5] = 1;  // set the first captured as true
      }

      else   // If the first rising edge is captured, now we will capture the second edge
      {
        IC_Val2[5] = HAL_TIM_ReadCapturedValue(htim, TIM_CHANNEL_2);  // read second value

        if (IC_Val2[5] > IC_Val1[5])
        {
          Difference[5] = IC_Val2[5]-IC_Val1[5];
        }

        else if (IC_Val1[5] > IC_Val2[5])
        {
          Difference[5] = (0xffffffff - IC_Val1[5]) + IC_Val2[5];
        }

        float refClock = TIMCLOCK_1/(PRESCALAR_1);

        frequency[2] = (int)refClock/Difference[5];

        //        __HAL_TIM_SET_COUNTER(htim, 0);  // reset the counter
        Is_First_Captured[5] = 0; // set it back to false
      }
    }
    else if (htim->Channel == HAL_TIM_ACTIVE_CHANNEL_3)
    {
      if (Is_First_Captured[6]==0) // if the first rising edge is not captured
      {
        IC_Val1[6] = HAL_TIM_ReadCapturedValue(htim, TIM_CHANNEL_3); // read the first value
        Is_First_Captured[6] = 1;  // set the first captured as true
      }

      else   // If the first rising edge is captured, now we will capture the second edge
      {
        IC_Val2[6] = HAL_TIM_ReadCapturedValue(htim, TIM_CHANNEL_3);  // read second value

        if (IC_Val2[6] > IC_Val1[6])
        {
          Difference[6] = IC_Val2[6]-IC_Val1[6];
        }

        else if (IC_Val1[6] > IC_Val2[6])
        {
          Difference[6] = (0xffffffff - IC_Val1[6]) + IC_Val2[6];
        }

        float refClock = TIMCLOCK_1/(PRESCALAR_1);

        frequency[1] = (int)refClock/Difference[6];

        //        __HAL_TIM_SET_COUNTER(htim, 0);  // reset the counter
        Is_First_Captured[6] = 0; // set it back to false
      }
    }
    else if (htim->Channel == HAL_TIM_ACTIVE_CHANNEL_4)
    {
      if (Is_First_Captured[7]==0) // if the first rising edge is not captured
      {
        IC_Val1[7] = HAL_TIM_ReadCapturedValue(htim, TIM_CHANNEL_4); // read the first value
        Is_First_Captured[7] = 1;  // set the first captured as true
      }

      else   // If the first rising edge is captured, now we will capture the second edge
      {
        IC_Val2[7] = HAL_TIM_ReadCapturedValue(htim, TIM_CHANNEL_4);  // read second value

        if (IC_Val2[7] > IC_Val1[7])
        {
          Difference[7] = IC_Val2[7]-IC_Val1[7];
        }

        else if (IC_Val1[7] > IC_Val2[7])
        {
          Difference[7] = (0xffffffff - IC_Val1[7]) + IC_Val2[7];
        }

        float refClock = TIMCLOCK_1/(PRESCALAR_1);

        frequency[0] = (int)refClock/Difference[7];

        //        __HAL_TIM_SET_COUNTER(htim, 0);  // reset the counter
        Is_First_Captured[7] = 0; // set it back to false
      }
    }
  }
  ////////////////////////Timer 3
  else if (htim == &htim3)
  {
    if (htim->Channel == HAL_TIM_ACTIVE_CHANNEL_1)
    {
      if (Is_First_Captured[8]==0) // if the first rising edge is not captured
      {
        IC_Val1[8] = HAL_TIM_ReadCapturedValue(htim, TIM_CHANNEL_1); // read the first value
        Is_First_Captured[8] = 1;  // set the first captured as true
      }

      else   // If the first rising edge is captured, now we will capture the second edge
      {
        IC_Val2[8] = HAL_TIM_ReadCapturedValue(htim, TIM_CHANNEL_1);  // read second value

        if (IC_Val2[8] > IC_Val1[8])
        {
          Difference[8] = IC_Val2[8]-IC_Val1[8];
        }

        else if (IC_Val1[8] > IC_Val2[8])
        {
          Difference[8] = (0xffffffff - IC_Val1[8]) + IC_Val2[8];
        }

        float refClock = TIMCLOCK_1/(PRESCALAR_1);

        frequency[8] = (int)refClock/Difference[8];

        //        __HAL_TIM_SET_COUNTER(htim, 0);  // reset the counter
        Is_First_Captured[8] = 0; // set it back to false
      }
    }
    else if (htim->Channel == HAL_TIM_ACTIVE_CHANNEL_2)
    {
      if (Is_First_Captured[9]==0) // if the first rising edge is not captured
      {
        IC_Val1[9] = HAL_TIM_ReadCapturedValue(htim, TIM_CHANNEL_2); // read the first value
        Is_First_Captured[9] = 1;  // set the first captured as true
      }

      else   // If the first rising edge is captured, now we will capture the second edge
      {
        IC_Val2[9] = HAL_TIM_ReadCapturedValue(htim, TIM_CHANNEL_2);  // read second value

        if (IC_Val2[9] > IC_Val1[9])
        {
          Difference[9] = IC_Val2[9]-IC_Val1[9];
        }

        else if (IC_Val1[9] > IC_Val2[9])
        {
          Difference[9] = (0xffffffff - IC_Val1[9]) + IC_Val2[9];
        }

        float refClock = TIMCLOCK_1/(PRESCALAR_1);

        frequency[9] = (int)refClock/Difference[9];

        //        __HAL_TIM_SET_COUNTER(htim, 0);  // reset the counter
        Is_First_Captured[9] = 0; // set it back to false
      }
    }
    else if (htim->Channel == HAL_TIM_ACTIVE_CHANNEL_3)
    {
      if (Is_First_Captured[10]==0) // if the first rising edge is not captured
      {
        IC_Val1[10] = HAL_TIM_ReadCapturedValue(htim, TIM_CHANNEL_3); // read the first value
        Is_First_Captured[10] = 1;  // set the first captured as true
      }

      else   // If the first rising edge is captured, now we will capture the second edge
      {
        IC_Val2[10] = HAL_TIM_ReadCapturedValue(htim, TIM_CHANNEL_3);  // read second value

        if (IC_Val2[10] > IC_Val1[10])
        {
          Difference[10] = IC_Val2[10]-IC_Val1[10];
        }

        else if (IC_Val1[10] > IC_Val2[10])
        {
          Difference[10] = (0xffffffff - IC_Val1[10]) + IC_Val2[10];
        }

        float refClock = TIMCLOCK_1/(PRESCALAR_1);

        frequency[10] = (int)refClock/Difference[10];

        //        __HAL_TIM_SET_COUNTER(htim, 0);  // reset the counter
        Is_First_Captured[10] = 0; // set it back to false
      }
    }
    else if (htim->Channel == HAL_TIM_ACTIVE_CHANNEL_4)
    {
      if (Is_First_Captured[11]==0) // if the first rising edge is not captured
      {
        IC_Val1[11] = HAL_TIM_ReadCapturedValue(htim, TIM_CHANNEL_4); // read the first value
        Is_First_Captured[11] = 1;  // set the first captured as true
      }

      else   // If the first rising edge is captured, now we will capture the second edge
      {
        IC_Val2[11] = HAL_TIM_ReadCapturedValue(htim, TIM_CHANNEL_4);  // read second value

        if (IC_Val2[11] > IC_Val1[11])
        {
          Difference[11] = IC_Val2[11]-IC_Val1[11];
        }

        else if (IC_Val1[11] > IC_Val2[11])
        {
          Difference[11] = (0xffffffff - IC_Val1[11]) + IC_Val2[11];
        }

        float refClock = TIMCLOCK_1/(PRESCALAR_1);

        frequency[11] = (int)refClock/Difference[11];

        //        __HAL_TIM_SET_COUNTER(htim, 0);  // reset the counter
        Is_First_Captured[11] = 0; // set it back to false
      }
    }
  }
  /////////////////////////Timer 4
  else if (htim == &htim4)
  {
    if (htim->Channel == HAL_TIM_ACTIVE_CHANNEL_1)
    {
      if (Is_First_Captured[12]==0) // if the first rising edge is not captured
      {
        IC_Val1[12] = HAL_TIM_ReadCapturedValue(htim, TIM_CHANNEL_1); // read the first value
        Is_First_Captured[12] = 1;  // set the first captured as true
      }

      else   // If the first rising edge is captured, now we will capture the second edge
      {
        IC_Val2[12] = HAL_TIM_ReadCapturedValue(htim, TIM_CHANNEL_1);  // read second value

        if (IC_Val2[12] > IC_Val1[12])
        {
          Difference[12] = IC_Val2[12]-IC_Val1[12];
        }

        else if (IC_Val1[12] > IC_Val2[12])
        {
          Difference[12] = (0xffffffff - IC_Val1[12]) + IC_Val2[12];
        }

        float refClock = TIMCLOCK_1/(PRESCALAR_1);

        frequency[12] = (int)refClock/Difference[12];

        //        __HAL_TIM_SET_COUNTER(htim, 0);  // reset the counter
        Is_First_Captured[12] = 0; // set it back to false
      }
    }
    else if (htim->Channel == HAL_TIM_ACTIVE_CHANNEL_2)
    {
      if (Is_First_Captured[13]==0) // if the first rising edge is not captured
      {
        IC_Val1[13] = HAL_TIM_ReadCapturedValue(htim, TIM_CHANNEL_2); // read the first value
        Is_First_Captured[13] = 1;  // set the first captured as true
      }

      else   // If the first rising edge is captured, now we will capture the second edge
      {
        IC_Val2[13] = HAL_TIM_ReadCapturedValue(htim, TIM_CHANNEL_2);  // read second value

        if (IC_Val2[13] > IC_Val1[13])
        {
          Difference[13] = IC_Val2[13]-IC_Val1[13];
        }

        else if (IC_Val1[13] > IC_Val2[13])
        {
          Difference[13] = (0xffffffff - IC_Val1[13]) + IC_Val2[13];
        }

        float refClock = TIMCLOCK_1/(PRESCALAR_1);

        frequency[13] = (int)refClock/Difference[13];

        //        __HAL_TIM_SET_COUNTER(htim, 0);  // reset the counter
        Is_First_Captured[13] = 0; // set it back to false
      }
    }
    else if (htim->Channel == HAL_TIM_ACTIVE_CHANNEL_3)
    {
      if (Is_First_Captured[14]==0) // if the first rising edge is not captured
      {
        IC_Val1[14] = HAL_TIM_ReadCapturedValue(htim, TIM_CHANNEL_3); // read the first value
        Is_First_Captured[14] = 1;  // set the first captured as true
      }

      else   // If the first rising edge is captured, now we will capture the second edge
      {
        IC_Val2[14] = HAL_TIM_ReadCapturedValue(htim, TIM_CHANNEL_3);  // read second value

        if (IC_Val2[14] > IC_Val1[14])
        {
          Difference[14] = IC_Val2[14]-IC_Val1[14];
        }

        else if (IC_Val1[14] > IC_Val2[14])
        {
          Difference[14] = (0xffffffff - IC_Val1[14]) + IC_Val2[14];
        }

        float refClock = TIMCLOCK_1/(PRESCALAR_1);

        frequency[14] = (int)refClock/Difference[14];

        //        __HAL_TIM_SET_COUNTER(htim, 0);  // reset the counter
        Is_First_Captured[14] = 0; // set it back to false
      }
    }
    else if (htim->Channel == HAL_TIM_ACTIVE_CHANNEL_4)
    {
      if (Is_First_Captured[15]==0) // if the first rising edge is not captured
      {
        IC_Val1[15] = HAL_TIM_ReadCapturedValue(htim, TIM_CHANNEL_4); // read the first value
        Is_First_Captured[15] = 1;  // set the first captured as true
      }

      else   // If the first rising edge is captured, now we will capture the second edge
      {
        IC_Val2[15] = HAL_TIM_ReadCapturedValue(htim, TIM_CHANNEL_4);  // read second value

        if (IC_Val2[15] > IC_Val1[15])
        {
          Difference[15] = IC_Val2[15]-IC_Val1[15];
        }

        else if (IC_Val1[11] > IC_Val2[11])
        {
          Difference[15] = (0xffffffff - IC_Val1[15]) + IC_Val2[15];
        }

        float refClock = TIMCLOCK_1/(PRESCALAR_1);

        frequency[15] = (int)refClock/Difference[15];

        //        __HAL_TIM_SET_COUNTER(htim, 0);  // reset the counter
        Is_First_Captured[15] = 0; // set it back to false
      }
    }
  }
}

char *convert_to_string(uint16_t data[], size_t len) {
  char *str = malloc(len * 6); // 5 digits + 1 separator
  if (str == NULL) {
    return NULL;
  }

  for (size_t i = 0; i < len; i++) {
    sprintf(str + i * 6, "%u$", data[i]);
  }
  str[len * 6 - 1] = '\0';

  return str;
}

void arrayToString(uint16_t* dataArray, int size, char* result) {
  for (int i = 0; i < size; i++) {
    char temp[6];
    tfp_sprintf(temp,"%05u$",dataArray[i]);
    //      sprintf(temp,"%u$",dataArray[i]);
    strcat(result,temp);
  }
}

/* USER CODE END 4 */

void modebusTaskTcpFunc(void *argument)
{
  /* init code for LWIP */
  MX_LWIP_Init();
  /* USER CODE BEGIN 5 */

  int sockfd;
  struct sockaddr_in servaddr, cliaddr;
  u32_t len;

  /*

  char payload[] = "Message from STM32";

  struct sockaddr_in  dest_addr_udp;
  dest_addr_udp.sin_addr.s_addr = inet_addr("192.168.0.30");
  dest_addr_udp.sin_family = AF_INET;
  dest_addr_udp.sin_port = htons(5555);

  int sock_udp = socket(AF_INET, SOCK_DGRAM, IPPROTO_IP);
  */

  // Bind the socket with the server address
//  bind(sockfd, (const struct sockaddr *)&cliaddr, sizeof(cliaddr));  //****

  len = sizeof(servaddr);  //len is value/resuslt

  for(int i = 0; i < 1200; i++){
    header[i] = '1';
  }
  for(int i = 0; i < 1200; i++){
    footer[i] = '*';
  }

  /* Infinite loop */
  for(;;)
  {
    if(socketStatus == 0){
        memset(&servaddr, 0, sizeof(servaddr));
        memset(&cliaddr, 0, sizeof(cliaddr));

        // Filling server information
        cliaddr.sin_addr.s_addr = inet_addr("0.0.0.0");
        cliaddr.sin_family    = AF_INET; // IPv4
        cliaddr.sin_port = htons(2030);

        servaddr.sin_addr.s_addr = inet_addr("192.168.0.30");
        servaddr.sin_family    = AF_INET; // IPv4
        servaddr.sin_port = htons(2020);

        // Creating socket file descriptor
        sockfd = socket(AF_INET, SOCK_DGRAM, 0); //****

      bind(sockfd, (const struct sockaddr *)&cliaddr, sizeof(cliaddr));
      socketStatus = 1;
    }
    number_of_bytes = recvfrom(sockfd, (char *)smsg, MAXLINE,  MSG_DONTWAIT, ( struct sockaddr *) &cliaddr,&len);

    char temp[5]= "Send\0";
    char inp[5];
    memcpy(inp,smsg,4);
    inp[4] = '\0';
    sendReq = strcmp(temp,inp);
    if(sendReq == 0 && recBlock == 0){
      strcpy(update_status,"mode1");
      usart_process_data("1",1);
      counter = 0;
      recBlock = 1;
      osDelay(10);
      sendReq = 1;
      smsg[0] = '\0';
      smsg[1] = '\0';
      smsg[2] = '\0';
      smsg[3] = '\0';
      smsg[0] = '\0';
    }
    else{
      sendReq = 0;
    }
    if(sendOutUdp == 1){
      char tempO[1200];
      //--------- Header -----------//
      sendto(sockfd, (const char *)header, 1200, 1, (const struct sockaddr *) &servaddr, len);
      osDelay(10);
//      memset(tempO,'\0',1200);
//      osDelay(10);
      //----------- Data -----------//
      for(int i = 0; i < 4; i++){
        memcpy(tempO,outstr+(i*1200),1200);
        osDelay(50);
        sendto(sockfd, (const char *)tempO, 1200, 1, (const struct sockaddr *) &servaddr, len);
        osDelay(10);
//        memset(tempO,'\0',1200);
//        osDelay(10);
      }
      //--------- Footer -----------//
//      memset(tempO,'*',1200);
//      osDelay(10);

      sendto(sockfd, (const char *)footer, 1200, 1, (const struct sockaddr *) &servaddr, len);
      osDelay(10);
//      HAL_GPIO_WritePin(ETH_RST_GPIO_Port, ETH_RST_Pin, GPIO_PIN_RESET);
//      osDelay(300);
//      HAL_NVIC_SystemReset(); // Temperary

      usart_rx[0] = '\0';
      osDelay(10);
      recBlock = 0;
      sendReq = 1;
      readStatus = 0;
      close(sockfd);
      socketStatus = 0;
      sendOutUdp = 0;

      memset(usart_rx, '\0', sizeof(usart_rx));
      osDelay(100);
      memset(outstr, '\0', sizeof(outstr));
      osDelay(100);

    }
    //    buffer[number_of_bytes] = '\0';

    //number_of_bytes = 0;
    osDelay(1);
  }
  /* USER CODE END 5 */
}

void Freq_Cal_entry(void *argument)
{
  /* USER CODE BEGIN Freq_Cal_entry */
  usart_process_data("3",1);
  memset(usart_rx, '\0', sizeof(usart_rx));
  osDelay(50);
  /* Infinite loop */
  for(;;)
  {
    if(sendOutUdp == 0){
      frequency_f[0] = frequency[0];
      frequency_f[1] = frequency[1];
      frequency_f[2] = frequency[2];
      frequency_f[3] = frequency[3];
      frequency_f[4] = frequency[4];
      frequency_f[5] = frequency[5];
      frequency_f[6] = frequency[6];
      frequency_f[7] = frequency[7];
      frequency_f[8] = frequency[8];
      frequency_f[9] = frequency[9];
      frequency_f[10] = frequency[10];
      frequency_f[11] = frequency[11];
      frequency_f[12] = frequency[12];
      frequency_f[13] = frequency[12];
      frequency_f[14] = frequency[14];
      frequency_f[15] = frequency[15];

      if(usart_rx[0] != '\0'){
        slave_recive = 1;
      }
      if(!HAL_GPIO_ReadPin(Input_Sensor1_GPIO_Port,Input_Sensor1_Pin)){
        sensorNumber = 1;
      }
      else if(!HAL_GPIO_ReadPin(Input_Sensor2_GPIO_Port,Input_Sensor2_Pin)){
        sensorNumber = 2;
      }
      else if(!HAL_GPIO_ReadPin(Input_Sensor3_GPIO_Port,Input_Sensor3_Pin)){
        sensorNumber = 3;
      }
      else if(!HAL_GPIO_ReadPin(Input_Sensor4_GPIO_Port,Input_Sensor4_Pin)){
        sensorNumber = 4;
      }

      if(!HAL_GPIO_ReadPin(SensorInput_GPIO_Port,SensorInput_Pin)){
        sensorStatus = 1;
      }
      else{
        sensorStatus = 0;
      }

      if(sensorStatus == 0){
        if(readStatus == 1){
          readStatus = 2;
          sensorStatus = 0;
        }
      }

      if(sensorStatus != 0 && !strcmp(update_status,"mode0")){
        readStatus = 1;
        strcpy(update_status,"mode1");
        usart_process_data("1",1);
        osDelay(10);
        counter = 0;
      }

      if(!strcmp(update_status,"mode0")){
        for(int j = 0; j < 800; j++){
          out_data[j] = 0;
        }
      }

      if(readStatus == 1 || recBlock == 1){
        if(counter >= 100){
          counter = 0;

          for(int i = 0; i < 16; i++){
            //          uint16_t test[16] = {43000,10000,535,3486,10000,25000,40020,356,2546,15000,153,25,35000,15000,6500,700}; // Test Data
            //          capture_freq[readCount][i] = test[i];
            capture_freq[readCount][i] = frequency_f[i];
          }
          readCount++;
        }
        if(readCount == 100){
          uint8_t sampleRate;
          if(readCount > 25){
            sampleRate = readCount/25;
          }
          else{
            sampleRate = 1;
          }
          for(int i = 0; i < 25; i++){
            for(int j = 0; j < 16; j++){
              selected_data[i][j] = capture_freq[i*sampleRate][j];
            }
          }
          uint16_t count = 0;
          for(int i = 0; i < 25; i++){
            for(int j = 0; j < 16; j++){
              out_data[count++] = selected_data[i][j];
            }
          }
          strcpy(update_status, "mode2");
        }
      }
      if(readStatus == 2){
        usart_process_data("2",1);
        osDelay(10);
        readStatus = 0;
        strcpy(update_status, "mode2");
      }
      if(slave_recive == 1 && !strcmp(update_status,"mode2")){
        uint8_t sampleRate;
        if(readCount > 25){
          sampleRate = readCount/25;
        }
        else{
          sampleRate = 1;
        }
        for(int i = 0; i < 25; i++){
          for(int j = 0; j < 16; j++){
            selected_data[i][j] = capture_freq[i*sampleRate][j];
          }
        }
        uint16_t count = 0;
        for(int i = 0; i < 25; i++){
          for(int j = 0; j < 16; j++){
            out_data[count++] = selected_data[i][j];
          }
        }
        // initialize data here
        arrayToString(out_data,400,outstr);
        outstr[2399] = '$';
        usart_rx[299] = '$';
        for (int i = 0; i < 24; i++){
          memcpy(outstr+(2400+(i*100)),usart_rx+(i*100),100);
          osDelay(20);
        }
        outstr[4799] = '$';
        outstr[4800] = sensorNumber + '0';
        outstr[4801] = '\0';
        //      sensorNumber = 0;
        osDelay(20);

        strcpy(update_status,"mode0");
        readCount = 0;
        slave_recive = 0;
        readStatus = 0;
        recBlock = 0;

        sendOutUdp = 1;

        for(int i = 0; i < 25; i++){
          for(int j = 0; j < 16; j++){
            selected_data[i][j] = 0;
          }
        }
        uint16_t cnt = 0;
        for(int i = 0; i < 25; i++){
          for(int j = 0; j < 16; j++){
            out_data[cnt++] = 0;
          }
        }
        for(int i = 0; i < 100; i++){
          for(int j = 0; j < 16; j++){
            capture_freq[i][j] = 0;
          }
        }

        //      if(sendReq == 0){
        //        counter = 0;
        //        sendCounter++;
        //        usart_process_data("1",1);
        //        osDelay(10);
        //        if(sendCounter == 6){
        //          sendCounter = 0;
        //          sendReq = 1;
        //          memset(smsg, '\0', sizeof(smsg));
        //        }
        //      }
      }
    }
    osDelay(1);
  }
  /* USER CODE END Freq_Cal_entry */
}

void HAL_TIM_PeriodElapsedCallback(TIM_HandleTypeDef *htim)
{
  if (htim->Instance == TIM5) {
    HAL_IncTick();
  }
}

void Error_Handler(void)
{
}

/************************ (C) COPYRIGHT STMicroelectronics *****END OF FILE****/
